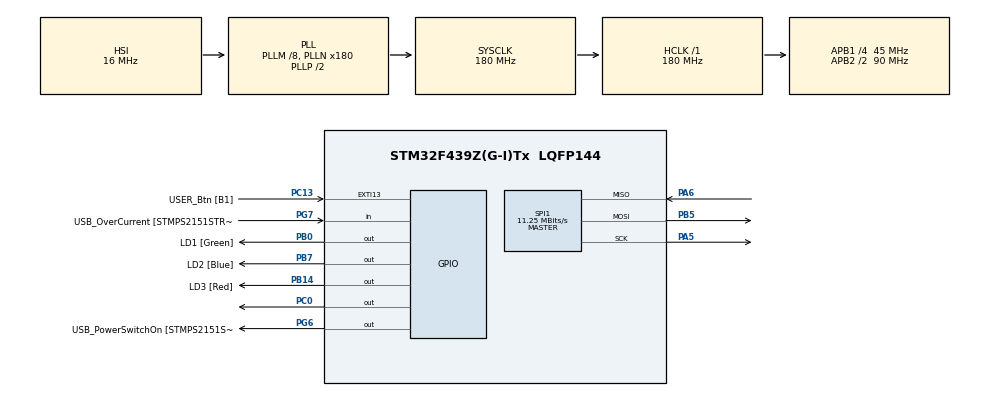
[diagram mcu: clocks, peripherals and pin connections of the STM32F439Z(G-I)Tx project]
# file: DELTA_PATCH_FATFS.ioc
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FATFS._FS_LOCK=3
FATFS._MAX_SS=4096
FATFS._USE_LFN=1
Mcu.Family=STM32F4
Mcu.Name=STM32F439Z(G-I)Tx
Mcu.Package=LQFP144
NVIC.PriorityGroup=NVIC_PRIORITYGROUP_4
PA1.GPIO_Label=RMII_REF_CLK [LAN8742A-CZ-TR_REFCLK0]
PA1.Signal=ETH_REF_CLK
PA10.GPIO_Label=USB_ID
PA10.Signal=USB_OTG_FS_ID
PA11.GPIO_Label=USB_DM
PA11.Signal=USB_OTG_FS_DM
PA12.GPIO_Label=USB_DP
PA12.Signal=USB_OTG_FS_DP
PA13.GPIO_Label=TMS
PA13.Signal=SYS_JTMS-SWDIO
PA14.GPIO_Label=TCK
PA14.Signal=SYS_JTCK-SWCLK
PA2.GPIO_Label=RMII_MDIO [LAN8742A-CZ-TR_MDIO]
PA2.Signal=ETH_MDIO
PA5.Mode=Full_Duplex_Master
PA5.Signal=SPI1_SCK
PA6.Mode=Full_Duplex_Master
PA6.Signal=SPI1_MISO
PA7.GPIO_Label=RMII_CRS_DV [LAN8742A-CZ-TR_CRS_DV]
PA7.Signal=ETH_CRS_DV
PA8.GPIO_Label=USB_SOF [TP1]
PA8.Signal=USB_OTG_FS_SOF
PA9.GPIO_Label=USB_VBUS
PA9.Signal=USB_OTG_FS_VBUS
PB0.GPIO_Label=LD1 [Green]
PB0.Signal=GPIO_Output
PB13.GPIO_Label=RMII_TXD1 [LAN8742A-CZ-TR_TXD1]
PB13.Signal=ETH_TXD1
PB14.GPIO_Label=LD3 [Red]
PB14.Signal=GPIO_Output
PB5.Mode=Full_Duplex_Master
PB5.Signal=SPI1_MOSI
PB7.GPIO_Label=LD2 [Blue]
PB7.Signal=GPIO_Output
PC0.Signal=GPIO_Output
PC1.GPIO_Label=RMII_MDC [LAN8742A-CZ-TR_MDC]
PC1.Signal=ETH_MDC
PC13.GPIO_Label=USER_Btn [B1]
PC13.Signal=GPXTI13
PC14/OSC32_IN.Signal=RCC_OSC32_IN
PC15/OSC32_OUT.Signal=RCC_OSC32_OUT
PC4.GPIO_Label=RMII_RXD0 [LAN8742A-CZ-TR_RXD0]
PC4.Signal=ETH_RXD0
PC5.GPIO_Label=RMII_RXD1 [LAN8742A-CZ-TR_RXD1]
PC5.Signal=ETH_RXD1
PD8.GPIO_Label=STLK_RX [STM32F103CBT6_PA3]
PD8.Signal=USART3_TX
PD9.GPIO_Label=STLK_TX [STM32F103CBT6_PA2]
PD9.Signal=USART3_RX
PG11.GPIO_Label=RMII_TX_EN [LAN8742A-CZ-TR_TXEN]
PG11.Signal=ETH_TX_EN
PG13.GPIO_Label=RMII_TXD0 [LAN8742A-CZ-TR_TXD0]
PG13.Signal=ETH_TXD0
PG6.GPIO_Label=USB_PowerSwitchOn [STMPS2151STR_EN]
PG6.Signal=GPIO_Output
PG7.GPIO_Label=USB_OverCurrent [STMPS2151STR_FAULT]
PG7.Signal=GPIO_Input
PH0/OSC_IN.GPIO_Label=MCO [STM32F103CBT6_PA8]
PH0/OSC_IN.Signal=RCC_OSC_IN
PH1/OSC_OUT.Signal=RCC_OSC_OUT
ProjectManager.HeapSize=0x200
ProjectManager.StackSize=0x400
ProjectManager.TargetToolchain=STM32CubeIDE
RCC.48MHZClocksFreq_Value=90000000
RCC.AHBFreq_Value=180000000
RCC.APB1CLKDivider=RCC_HCLK_DIV4
RCC.APB1Freq_Value=45000000
RCC.APB1TimFreq_Value=90000000
RCC.APB2CLKDivider=RCC_HCLK_DIV2
RCC.APB2Freq_Value=90000000
RCC.APB2TimFreq_Value=180000000
RCC.CortexFreq_Value=180000000
RCC.HCLKFreq_Value=180000000
RCC.HSE_VALUE=8000000
RCC.HSI_VALUE=16000000
RCC.LSE_VALUE=32768
RCC.PLLM=8
RCC.PLLMUL=RCC_PLL_MUL9
RCC.PLLN=180
RCC.PRESCALERUSB=RCC_USBCLKSOURCE_PLL_DIV1_5
RCC.SYSCLKFreq_VALUE=180000000
RCC.SYSCLKSource=RCC_SYSCLKSOURCE_PLLCLK
RCC.SYSCLKSourceVirtual=RCC_SYSCLKSOURCE_PLLCLK
RCC.USBFreq_Value=48000000
RCC.VCOOutputFreq_Value=360000000
SPI1.BaudRatePrescaler=SPI_BAUDRATEPRESCALER_8
SPI1.CalculateBaudRate=11.25 MBits/s
SPI1.Direction=SPI_DIRECTION_2LINES
SPI1.Mode=SPI_MODE_MASTER
SPI1.VirtualType=VM_MASTER
VP_FATFS_VS_Generic.Mode=User_defined
board=NUCLEO-F439ZI

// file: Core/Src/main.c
/* USER CODE BEGIN Header */
/**
  ******************************************************************************
  * @file           : main.c
  * @brief          : Main program body
  ******************************************************************************
  * @attention
  *
  * Copyright (c) 2023 STMicroelectronics.
  * All rights reserved.
  *
  * This software is licensed under terms that can be found in the LICENSE file
  * in the root directory of this software component.
  * If no LICENSE file comes with this software, it is provided AS-IS.
  *
  ******************************************************************************
  */
/* USER CODE END Header */
#include "main.h"
#include "fatfs.h"

/* USER CODE BEGIN Includes */
#include "fatfs_sd.h"
#define JANPATCH_STREAM     FIL
#define SEEK_CUR 1
#define SEEK_END 2
#define SEEK_SET 0
#include "janpatch.h"
/* USER CODE END Includes */

SPI_HandleTypeDef hspi1;

void SystemClock_Config(void);
static void MX_GPIO_Init(void);
static void MX_SPI1_Init(void);

int main(void)
{

  /* MCU Configuration--------------------------------------------------------*/

  /* Reset of all peripherals, Initializes the Flash interface and the Systick. */
  HAL_Init();

  /* Configure the system clock */
  SystemClock_Config();

  /* Initialize all configured peripherals */
  MX_GPIO_Init();
  MX_SPI1_Init();
  MX_FATFS_Init();
  /* USER CODE BEGIN 2 */
  HAL_Delay(500);

  //some variables for FatFs
   FATFS FatFs; 	//Fatfs handle
   FIL fil_old; 		//File handle
   FIL fil_patch; 		//File handle
   FIL fil_new; 		//File handle
   FRESULT fres; //Result after operations

   //Open the file system
     fres = f_mount(&FatFs, "", 1); //1=mount now
     if (fres != FR_OK) {
   	  printf("error\n");
     }

     //Now let's try to open file "old.txt"
       fres = f_open(&fil_old, "app.bin", FA_READ);
       if (fres != FR_OK) {
     	  printf("error\n");
       }
   //Now let's try to open file "patch.txt"
	  fres = f_open(&fil_patch, "diff.patch", FA_READ);
	  if (fres != FR_OK) {
		  printf("error\n");
	  }
	  //Now let's try to open file "new.txt"
	 fres = f_open(&fil_new, "reconstruct.bin", FA_WRITE| FA_OPEN_ALWAYS | FA_CREATE_ALWAYS);
	 if (fres != FR_OK) {
	  printf("error\n");
	 }
    // janpatch_ctx contains buffers, and references to the file system functions
    janpatch_ctx ctx = {
        { (unsigned char*)malloc(1024), 1024 }, // source buffer
        { (unsigned char*)malloc(1024), 1024 }, // patch buffer
        { (unsigned char*)malloc(1024), 1024 }, // target buffer
        &f_read,
        &f_write,
        &f_lseek
    };

  //patching
  int res = janpatch(ctx, &fil_old, &fil_patch, &fil_new);

  fres = f_close(&fil_old);
  fres = f_close(&fil_patch);
  fres = f_close(&fil_new);
  //successful patching

  if(res == 0){
	    char buffer[4];
	    int size;
	    fres = f_open(&fil_new, "reconstruct.bin", FA_READ);
	    // Reads line by line until the end
	    do
	    {
	       f_read(&fil_new, buffer, sizeof(buffer), &size);
	      // buffer now has the data ,can use and flash it
	      memset(buffer,0,sizeof(buffer));
	    }while(size !=0);
  }

  //don't forget to close your file!
  fres = f_close(&fil_new);
  //We're done, so de-mount the drive
  fres =f_mount(NULL, "", 0);
  /* USER CODE END 2 */

  /* Infinite loop */
  while (1)
  {

  }
}

void SystemClock_Config(void)
{
  RCC_OscInitTypeDef RCC_OscInitStruct = {0};
  RCC_ClkInitTypeDef RCC_ClkInitStruct = {0};

  /** Configure the main internal regulator output voltage
  */
  __HAL_RCC_PWR_CLK_ENABLE();
  __HAL_PWR_VOLTAGESCALING_CONFIG(PWR_REGULATOR_VOLTAGE_SCALE1);

  /** Initializes the RCC Oscillators according to the specified parameters
  * in the RCC_OscInitTypeDef structure.
  */
  RCC_OscInitStruct.OscillatorType = RCC_OSCILLATORTYPE_HSI;
  RCC_OscInitStruct.HSIState = RCC_HSI_ON;
  RCC_OscInitStruct.HSICalibrationValue = RCC_HSICALIBRATION_DEFAULT;
  RCC_OscInitStruct.PLL.PLLState = RCC_PLL_ON;
  RCC_OscInitStruct.PLL.PLLSource = RCC_PLLSOURCE_HSI;
  RCC_OscInitStruct.PLL.PLLM = 8;
  RCC_OscInitStruct.PLL.PLLN = 180;
  RCC_OscInitStruct.PLL.PLLP = RCC_PLLP_DIV2;
  RCC_OscInitStruct.PLL.PLLQ = 4;
  if (HAL_RCC_OscConfig(&RCC_OscInitStruct) != HAL_OK)
  {
    Error_Handler();
  }

  /** Activate the Over-Drive mode
  */
  if (HAL_PWREx_EnableOverDrive() != HAL_OK)
  {
    Error_Handler();
  }

  /** Initializes the CPU, AHB and APB buses clocks
  */
  RCC_ClkInitStruct.ClockType = RCC_CLOCKTYPE_HCLK|RCC_CLOCKTYPE_SYSCLK
                              |RCC_CLOCKTYPE_PCLK1|RCC_CLOCKTYPE_PCLK2;
  RCC_ClkInitStruct.SYSCLKSource = RCC_SYSCLKSOURCE_PLLCLK;
  RCC_ClkInitStruct.AHBCLKDivider = RCC_SYSCLK_DIV1;
  RCC_ClkInitStruct.APB1CLKDivider = RCC_HCLK_DIV4;
  RCC_ClkInitStruct.APB2CLKDivider = RCC_HCLK_DIV2;

  if (HAL_RCC_ClockConfig(&RCC_ClkInitStruct, FLASH_LATENCY_5) != HAL_OK)
  {
    Error_Handler();
  }
}

static void MX_SPI1_Init(void)
{

  /* SPI1 parameter configuration*/
  hspi1.Instance = SPI1;
  hspi1.Init.Mode = SPI_MODE_MASTER;
  hspi1.Init.Direction = SPI_DIRECTION_2LINES;
  hspi1.Init.DataSize = SPI_DATASIZE_8BIT;
  hspi1.Init.CLKPolarity = SPI_POLARITY_LOW;
  hspi1.Init.CLKPhase = SPI_PHASE_1EDGE;
  hspi1.Init.NSS = SPI_NSS_SOFT;
  hspi1.Init.BaudRatePrescaler = SPI_BAUDRATEPRESCALER_8;
  hspi1.Init.FirstBit = SPI_FIRSTBIT_MSB;
  hspi1.Init.TIMode = SPI_TIMODE_DISABLE;
  hspi1.Init.CRCCalculation = SPI_CRCCALCULATION_DISABLE;
  hspi1.Init.CRCPolynomial = 10;
  if (HAL_SPI_Init(&hspi1) != HAL_OK)
  {
    Error_Handler();
  }

}

static void MX_GPIO_Init(void)
{
  GPIO_InitTypeDef GPIO_InitStruct = {0};

  /* GPIO Ports Clock Enable */
  __HAL_RCC_GPIOC_CLK_ENABLE();
  __HAL_RCC_GPIOH_CLK_ENABLE();
  __HAL_RCC_GPIOA_CLK_ENABLE();
  __HAL_RCC_GPIOB_CLK_ENABLE();
  __HAL_RCC_GPIOD_CLK_ENABLE();
  __HAL_RCC_GPIOG_CLK_ENABLE();

  /*Configure GPIO pin Output Level */
  HAL_GPIO_WritePin(GPIOC, GPIO_PIN_0, GPIO_PIN_RESET);

  /*Configure GPIO pin Output Level */
  HAL_GPIO_WritePin(GPIOB, LD1_Pin|LD3_Pin|LD2_Pin, GPIO_PIN_RESET);

  /*Configure GPIO pin Output Level */
  HAL_GPIO_WritePin(USB_PowerSwitchOn_GPIO_Port, USB_PowerSwitchOn_Pin, GPIO_PIN_RESET);

  /*Configure GPIO pin : USER_Btn_Pin */
  GPIO_InitStruct.Pin = USER_Btn_Pin;
  GPIO_InitStruct.Mode = GPIO_MODE_IT_RISING;
  GPIO_InitStruct.Pull = GPIO_NOPULL;
  HAL_GPIO_Init(USER_Btn_GPIO_Port, &GPIO_InitStruct);

  /*Configure GPIO pin : PC0 */
  GPIO_InitStruct.Pin = GPIO_PIN_0;
  GPIO_InitStruct.Mode = GPIO_MODE_OUTPUT_PP;
  GPIO_InitStruct.Pull = GPIO_NOPULL;
  GPIO_InitStruct.Speed = GPIO_SPEED_FREQ_LOW;
  HAL_GPIO_Init(GPIOC, &GPIO_InitStruct);

  /*Configure GPIO pins : RMII_MDC_Pin RMII_RXD0_Pin RMII_RXD1_Pin */
  GPIO_InitStruct.Pin = RMII_MDC_Pin|RMII_RXD0_Pin|RMII_RXD1_Pin;
  GPIO_InitStruct.Mode = GPIO_MODE_AF_PP;
  GPIO_InitStruct.Pull = GPIO_NOPULL;
  GPIO_InitStruct.Speed = GPIO_SPEED_FREQ_VERY_HIGH;
  GPIO_InitStruct.Alternate = GPIO_AF11_ETH;
  HAL_GPIO_Init(GPIOC, &GPIO_InitStruct);

  /*Configure GPIO pins : RMII_REF_CLK_Pin RMII_MDIO_Pin RMII_CRS_DV_Pin */
  GPIO_InitStruct.Pin = RMII_REF_CLK_Pin|RMII_MDIO_Pin|RMII_CRS_DV_Pin;
  GPIO_InitStruct.Mode = GPIO_MODE_AF_PP;
  GPIO_InitStruct.Pull = GPIO_NOPULL;
  GPIO_InitStruct.Speed = GPIO_SPEED_FREQ_VERY_HIGH;
  GPIO_InitStruct.Alternate = GPIO_AF11_ETH;
  HAL_GPIO_Init(GPIOA, &GPIO_InitStruct);

  /*Configure GPIO pins : LD1_Pin LD3_Pin LD2_Pin */
  GPIO_InitStruct.Pin = LD1_Pin|LD3_Pin|LD2_Pin;
  GPIO_InitStruct.Mode = GPIO_MODE_OUTPUT_PP;
  GPIO_InitStruct.Pull = GPIO_NOPULL;
  GPIO_InitStruct.Speed = GPIO_SPEED_FREQ_LOW;
  HAL_GPIO_Init(GPIOB, &GPIO_InitStruct);

  /*Configure GPIO pin : RMII_TXD1_Pin */
  GPIO_InitStruct.Pin = RMII_TXD1_Pin;
  GPIO_InitStruct.Mode = GPIO_MODE_AF_PP;
  GPIO_InitStruct.Pull = GPIO_NOPULL;
  GPIO_InitStruct.Speed = GPIO_SPEED_FREQ_VERY_HIGH;
  GPIO_InitStruct.Alternate = GPIO_AF11_ETH;
  HAL_GPIO_Init(RMII_TXD1_GPIO_Port, &GPIO_InitStruct);

  /*Configure GPIO pins : STLK_RX_Pin STLK_TX_Pin */
  GPIO_InitStruct.Pin = STLK_RX_Pin|STLK_TX_Pin;
  GPIO_InitStruct.Mode = GPIO_MODE_AF_PP;
  GPIO_InitStruct.Pull = GPIO_NOPULL;
  GPIO_InitStruct.Speed = GPIO_SPEED_FREQ_VERY_HIGH;
  GPIO_InitStruct.Alternate = GPIO_AF7_USART3;
  HAL_GPIO_Init(GPIOD, &GPIO_InitStruct);

  /*Configure GPIO pin : USB_PowerSwitchOn_Pin */
  GPIO_InitStruct.Pin = USB_PowerSwitchOn_Pin;
  GPIO_InitStruct.Mode = GPIO_MODE_OUTPUT_PP;
  GPIO_InitStruct.Pull = GPIO_NOPULL;
  GPIO_InitStruct.Speed = GPIO_SPEED_FREQ_LOW;
  HAL_GPIO_Init(USB_PowerSwitchOn_GPIO_Port, &GPIO_InitStruct);

  /*Configure GPIO pin : USB_OverCurrent_Pin */
  GPIO_InitStruct.Pin = USB_OverCurrent_Pin;
  GPIO_InitStruct.Mode = GPIO_MODE_INPUT;
  GPIO_InitStruct.Pull = GPIO_NOPULL;
  HAL_GPIO_Init(USB_OverCurrent_GPIO_Port, &GPIO_InitStruct);

  /*Configure GPIO pins : USB_SOF_Pin USB_ID_Pin USB_DM_Pin USB_DP_Pin */
  GPIO_InitStruct.Pin = USB_SOF_Pin|USB_ID_Pin|USB_DM_Pin|USB_DP_Pin;
  GPIO_InitStruct.Mode = GPIO_MODE_AF_PP;
  GPIO_InitStruct.Pull = GPIO_NOPULL;
  GPIO_InitStruct.Speed = GPIO_SPEED_FREQ_VERY_HIGH;
  GPIO_InitStruct.Alternate = GPIO_AF10_OTG_FS;
  HAL_GPIO_Init(GPIOA, &GPIO_InitStruct);

  /*Configure GPIO pin : USB_VBUS_Pin */
  GPIO_InitStruct.Pin = USB_VBUS_Pin;
  GPIO_InitStruct.Mode = GPIO_MODE_INPUT;
  GPIO_InitStruct.Pull = GPIO_NOPULL;
  HAL_GPIO_Init(USB_VBUS_GPIO_Port, &GPIO_InitStruct);

  /*Configure GPIO pins : RMII_TX_EN_Pin RMII_TXD0_Pin */
  GPIO_InitStruct.Pin = RMII_TX_EN_Pin|RMII_TXD0_Pin;
  GPIO_InitStruct.Mode = GPIO_MODE_AF_PP;
  GPIO_InitStruct.Pull = GPIO_NOPULL;
  GPIO_InitStruct.Speed = GPIO_SPEED_FREQ_VERY_HIGH;
  GPIO_InitStruct.Alternate = GPIO_AF11_ETH;
  HAL_GPIO_Init(GPIOG, &GPIO_InitStruct);

}

void Error_Handler(void)
{
  __disable_irq();
  while (1)
  {
  }
}
